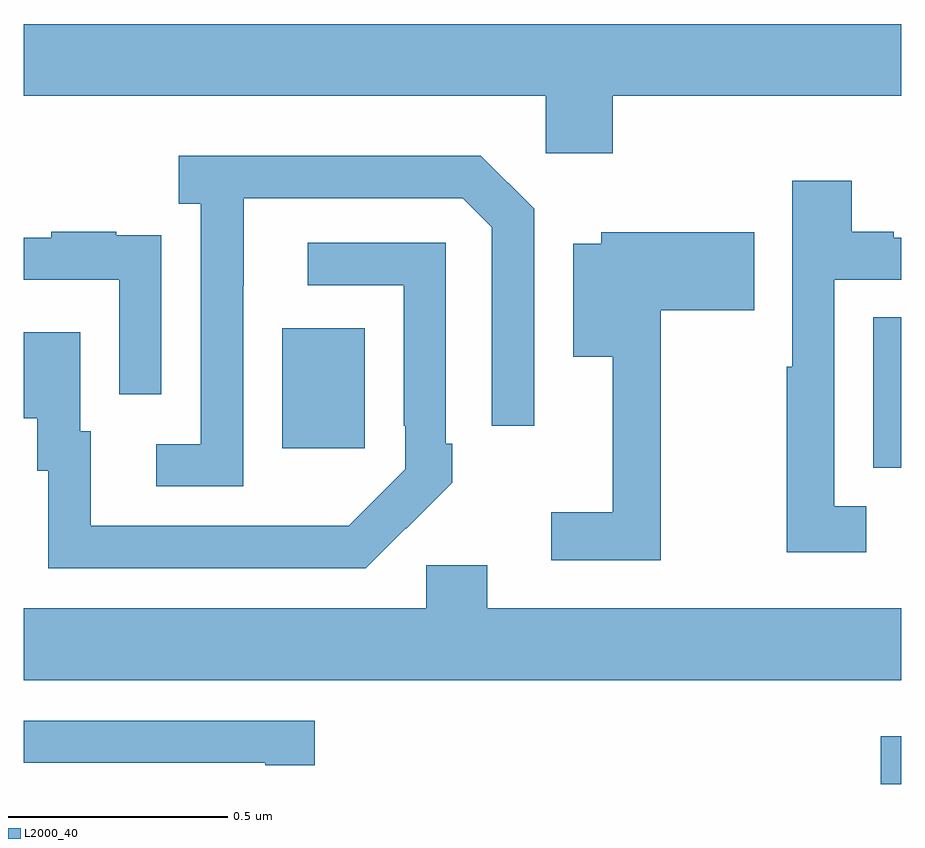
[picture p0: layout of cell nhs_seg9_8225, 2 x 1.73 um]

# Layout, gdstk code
import gdstk
lib = gdstk.Library(unit=1e-6, precision=1e-09)
def R(c, l, rs):  # rectangles x0, y0, x1, y1
    for r in rs: c.add(gdstk.rectangle(r[:2], r[2:], *l))
def P(c, l, *ps):  # polygons
    for p in ps: c.add(gdstk.Polygon(p, *l))
L2000_40 = (2000, 40)

nhs_seg9_8225 = lib.new_cell('nhs_seg9_8225')
R(nhs_seg9_8225, L2000_40, [(215.953,1213.5,216,1213.609), (215.936,1214.221,216,1214.564), (214.589,1214.265,214.777,1214.539)])
P(nhs_seg9_8225, L2000_40, [(215.342,1215.068),(216,1215.068),(216,1215.232),(214,1215.232),(214,1215.068),(215.19,1215.068),(215.19,1214.937),(215.342,1214.937)],
  [(214.5,1214.635),(214.501,1214.635),(214.501,1214.835),(215.001,1214.835),(215.067,1214.769),(215.067,1214.316),(215.163,1214.316),(215.163,1214.811),(215.042,1214.932),(214.353,1214.932),(214.353,1214.822),(214.404,1214.822),(214.404,1214.274),(214.302,1214.274),(214.302,1214.178),(214.5,1214.178)],
  [(215.92,1214.133),(215.847,1214.133),(215.847,1214.649),(216,1214.649),(216,1214.745),(215.983,1214.745),(215.983,1214.758),(215.887,1214.758),(215.887,1214.875),(215.751,1214.875),(215.751,1214.451),(215.739,1214.451),(215.739,1214.028),(215.92,1214.028)],
  [(214.314,1214.642),(214.313,1214.642),(214.313,1214.751),(214.211,1214.751),(214.211,1214.758),(214.063,1214.758),(214.063,1214.745),(214,1214.745),(214,1214.649),(214.218,1214.649),(214.218,1214.388),(214.314,1214.388)],
  [(215.452,1214.58),(215.665,1214.58),(215.665,1214.757),(215.316,1214.757),(215.316,1214.731),(215.252,1214.731),(215.252,1214.474),(215.342,1214.474),(215.342,1214.119),(215.202,1214.119),(215.202,1214.01),(215.452,1214.01)],
  [(214.871,1214.083),(214.872,1214.082),(214.977,1214.187),(214.977,1214.275),(214.962,1214.275),(214.962,1214.733),(214.647,1214.733),(214.647,1214.637),(214.866,1214.637),(214.866,1214.317),(214.869,1214.317),(214.869,1214.217),(214.741,1214.089),(214.637,1214.089),(214.637,1214.088),(214.153,1214.088),(214.153,1214.304),(214.129,1214.304),(214.129,1214.53),(214,1214.53),(214,1214.333),(214.031,1214.333),(214.031,1214.214),(214.056,1214.214),(214.056,1213.992),(214.78,1213.992)],
  [(216,1213.9),(215.056,1213.9),(215.056,1213.998),(214.917,1213.998),(214.917,1213.9),(214,1213.9),(214,1213.736),(216,1213.736)],
  [(214.663,1213.644),(214,1213.644),(214,1213.548),(214.55,1213.548),(214.55,1213.543),(214.663,1213.543)])

lib.write_gds('nhs_seg9_8225.gds')
